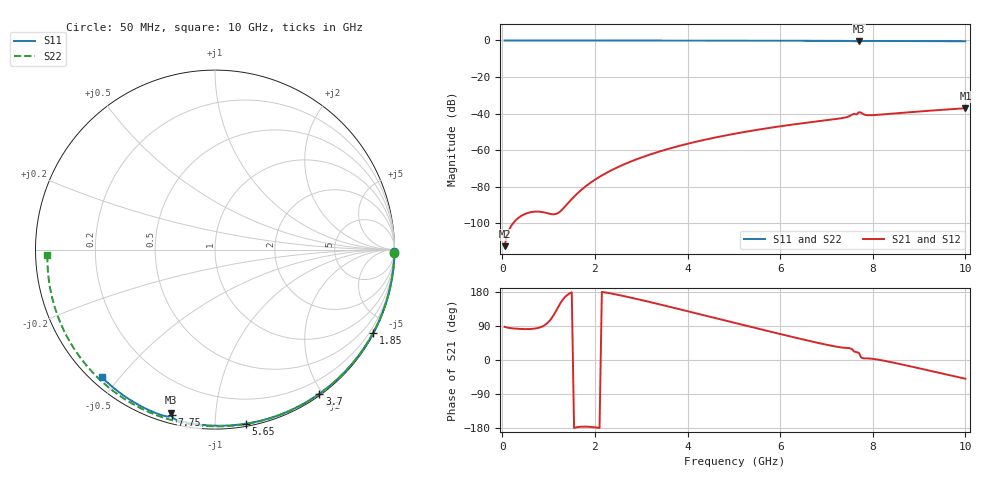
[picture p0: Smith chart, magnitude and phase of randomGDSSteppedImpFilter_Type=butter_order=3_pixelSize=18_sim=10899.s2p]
! freq	dB(S11)	phase(S11)	dB(S12)	phase(S12)
!  dB(S21)	phase(S21)	dB(S22)	phase(S22)
!S-par simulation data
#  GHz  S  DB  R 50
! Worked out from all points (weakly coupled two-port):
!   200 points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, 50 MHz to 10 GHz, reference 50 ohm
!   highest |S21| = -37.05 dB at 10 GHz (marker M1); lowest = -112.4 dB at 50 MHz (marker M2)
!   lowest |S11| = -0.5 dB at 7.7 GHz (marker M3), VSWR 33.15, Z = 2.39 - j38.3 ohm
!   |S11| at or under -10 dB: nowhere
!   |S22| runs from -0.6 to 0.0 dB; largest |S21 - S12| = 0
!   S11 on the Smith chart (normalised r, x): 50 MHz: open; 1.85 GHz: 0.04, -4.06; 3.7 GHz: 0.02, -1.96; 5.65 GHz: 0.02, -1.19; 7.75 GHz: 0.04, -0.77; 10 GHz: 0.03, -0.45
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0.05  -0.00 -0.8  -112.44 87.6  -112.44 87.6  -0.00 -1.0
0.85  -0.02 -12.9  -93.73 87.8  -93.73 87.8  -0.02 -17.0
1.75  -0.03 -26.2  -80.74 -175.9  -80.74 -175.9  -0.04 -34.6
1.85  -0.04 -27.7  -78.77 -176.1  -78.77 -176.1  -0.05 -36.5
2.15  -0.04 -32.1  -73.79 179.8  -73.79 179.8  -0.05 -42.2
2.5  -0.05 -37.1  -69.19 171.9  -69.19 171.9  -0.06 -48.9
2.9  -0.06 -42.9  -64.95 161.2  -64.95 161.2  -0.07 -56.3
3.4  -0.07 -49.9  -60.65 146.7  -60.65 146.7  -0.09 -65.5
3.7  -0.07 -54.1  -58.45 137.8  -58.45 137.8  -0.10 -70.9
5.05  -0.11 -72.3  -50.83 97.0  -50.83 97.0  -0.15 -94.5
5.65  -0.13 -80.0  -48.26 79.0  -48.26 79.0  -0.17 -104.6
6.7  -0.18 -93.2  -44.54 48.4  -44.54 48.4  -0.24 -121.9
7.4  -0.23 -102.0  -42.15 32.1  -42.15 32.1  -0.29 -133.4
7.6  -0.40 -104.6  -40.13 22.1  -40.13 22.1  -0.31 -136.6
7.65  -0.42 -105.0  -40.44 20.7  -40.44 20.7  -0.31 -137.5
7.7  -0.52 -105.1  -39.21 18.9  -39.21 18.9  -0.32 -138.3
7.75  -0.42 -104.6  -39.49 6.4  -39.49 6.4  -0.32 -139.1
7.8  -0.32 -105.4  -40.40 4.1  -40.40 4.1  -0.33 -139.9
7.9  -0.28 -106.9  -40.86 4.2  -40.86 4.2  -0.34 -141.6
8.35  -0.29 -112.5  -40.16 -4.5  -40.16 -4.5  -0.38 -149.1
9.2  -0.36 -122.3  -38.45 -27.4  -38.45 -27.4  -0.48 -163.6
10  -0.44 -131.4  -37.05 -49.5  -37.05 -49.5  -0.59 -178.1
